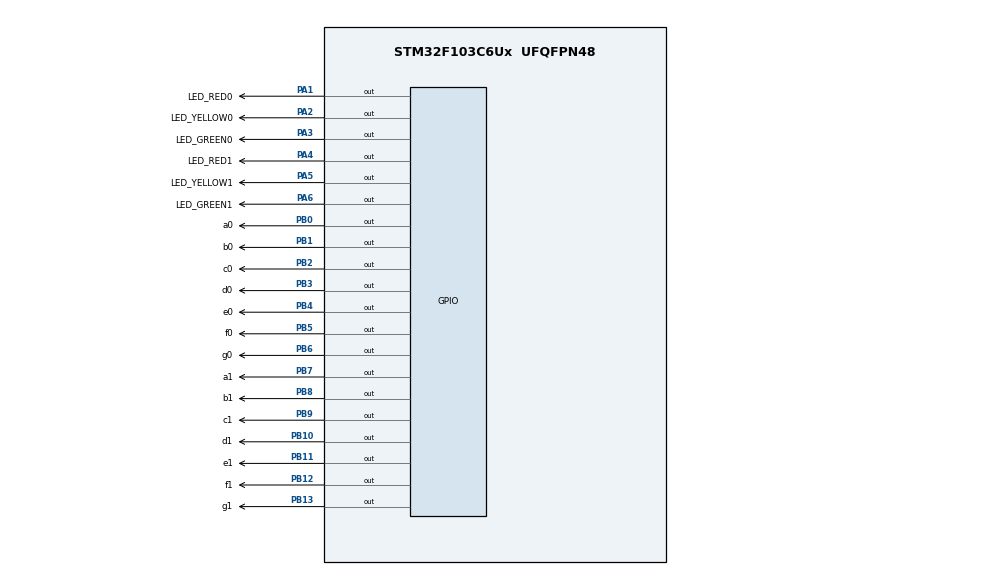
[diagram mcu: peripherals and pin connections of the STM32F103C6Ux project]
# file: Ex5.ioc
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Mcu.Family=STM32F1
Mcu.Name=STM32F103C6Ux
Mcu.Package=UFQFPN48
NVIC.PriorityGroup=NVIC_PRIORITYGROUP_4
PA1.GPIO_Label=LED_RED0
PA1.Signal=GPIO_Output
PA2.GPIO_Label=LED_YELLOW0
PA2.Signal=GPIO_Output
PA3.GPIO_Label=LED_GREEN0
PA3.Signal=GPIO_Output
PA4.GPIO_Label=LED_RED1
PA4.Signal=GPIO_Output
PA5.GPIO_Label=LED_YELLOW1
PA5.Signal=GPIO_Output
PA6.GPIO_Label=LED_GREEN1
PA6.Signal=GPIO_Output
PB0.GPIO_Label=a0
PB0.Signal=GPIO_Output
PB1.GPIO_Label=b0
PB1.Signal=GPIO_Output
PB10.GPIO_Label=d1
PB10.Signal=GPIO_Output
PB11.GPIO_Label=e1
PB11.Signal=GPIO_Output
PB12.GPIO_Label=f1
PB12.Signal=GPIO_Output
PB13.GPIO_Label=g1
PB13.Signal=GPIO_Output
PB2.GPIO_Label=c0
PB2.Signal=GPIO_Output
PB3.GPIO_Label=d0
PB3.Signal=GPIO_Output
PB4.GPIO_Label=e0
PB4.Signal=GPIO_Output
PB5.GPIO_Label=f0
PB5.Signal=GPIO_Output
PB6.GPIO_Label=g0
PB6.Signal=GPIO_Output
PB7.GPIO_Label=a1
PB7.Signal=GPIO_Output
PB8.GPIO_Label=b1
PB8.Signal=GPIO_Output
PB9.GPIO_Label=c1
PB9.Signal=GPIO_Output
ProjectManager.HeapSize=0x200
ProjectManager.StackSize=0x400
ProjectManager.TargetToolchain=STM32CubeIDE
RCC.APB1Freq_Value=8000000
RCC.APB2Freq_Value=8000000
VP_SYS_VS_ND.Mode=No_Debug
board=custom

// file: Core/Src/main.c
/* USER CODE BEGIN Header */
/**
  ******************************************************************************
  * @file           : main.c
  * @brief          : Main program body
  ******************************************************************************
  * @attention
  *
  * <h2><center>&copy; Copyright (c) 2026 STMicroelectronics.
  * All rights reserved.</center></h2>
  *
  * This software component is licensed by ST under BSD 3-Clause license,
  * the "License"; You may not use this file except in compliance with the
  * License. You may obtain a copy of the License at:
  *                        opensource.org/licenses/BSD-3-Clause
  *
  ******************************************************************************
  */
/* USER CODE END Header */
#include "main.h"

void SystemClock_Config(void);
static void MX_GPIO_Init(void);

int main(void)
{

  /* MCU Configuration--------------------------------------------------------*/

  /* Reset of all peripherals, Initializes the Flash interface and the Systick. */
  HAL_Init();

  /* Configure the system clock */
  SystemClock_Config();

  /* Initialize all configured peripherals */
  MX_GPIO_Init();

  /* Infinite loop */
  /* USER CODE BEGIN WHILE */
  //PB0 -> PB6
  void display7SEG_0(int num)
  {
      uint8_t seg7[10][7] = {
          // a  b  c  d  e  f  g
          {0, 0, 0, 0, 0, 0, 1}, // 0
          {1, 0, 0, 1, 1, 1, 1}, // 1
          {0, 0, 1, 0, 0, 1, 0}, // 2
          {0, 0, 0, 0, 1, 1, 0}, // 3
          {1, 0, 0, 1, 1, 0, 0}, // 4
          {0, 1, 0, 0, 1, 0, 0}, // 5
          {0, 1, 0, 0, 0, 0, 0}, // 6
          {0, 0, 0, 1, 1, 1, 1}, // 7
          {0, 0, 0, 0, 0, 0, 0}, // 8
          {0, 0, 0, 0, 1, 0, 0}  // 9
      };

      HAL_GPIO_WritePin(GPIOB, GPIO_PIN_0, seg7[num][0]); // a
      HAL_GPIO_WritePin(GPIOB, GPIO_PIN_1, seg7[num][1]); // b
      HAL_GPIO_WritePin(GPIOB, GPIO_PIN_2, seg7[num][2]); // c
      HAL_GPIO_WritePin(GPIOB, GPIO_PIN_3, seg7[num][3]); // d
      HAL_GPIO_WritePin(GPIOB, GPIO_PIN_4, seg7[num][4]); // e
      HAL_GPIO_WritePin(GPIOB, GPIO_PIN_5, seg7[num][5]); // f
      HAL_GPIO_WritePin(GPIOB, GPIO_PIN_6, seg7[num][6]); // g
  }

  //PB7 -> PB13
  void display7SEG_1(int num)
  {
      uint8_t seg7[10][7] = {
          // a  b  c  d  e  f  g
          {0, 0, 0, 0, 0, 0, 1}, // 0
          {1, 0, 0, 1, 1, 1, 1}, // 1
          {0, 0, 1, 0, 0, 1, 0}, // 2
          {0, 0, 0, 0, 1, 1, 0}, // 3
          {1, 0, 0, 1, 1, 0, 0}, // 4
          {0, 1, 0, 0, 1, 0, 0}, // 5
          {0, 1, 0, 0, 0, 0, 0}, // 6
          {0, 0, 0, 1, 1, 1, 1}, // 7
          {0, 0, 0, 0, 0, 0, 0}, // 8
          {0, 0, 0, 0, 1, 0, 0}  // 9
      };

      HAL_GPIO_WritePin(GPIOB, GPIO_PIN_7,  seg7[num][0]); // a
      HAL_GPIO_WritePin(GPIOB, GPIO_PIN_8,  seg7[num][1]); // b
      HAL_GPIO_WritePin(GPIOB, GPIO_PIN_9,  seg7[num][2]); // c
      HAL_GPIO_WritePin(GPIOB, GPIO_PIN_10, seg7[num][3]); // d
      HAL_GPIO_WritePin(GPIOB, GPIO_PIN_11, seg7[num][4]); // e
      HAL_GPIO_WritePin(GPIOB, GPIO_PIN_12, seg7[num][5]); // f
      HAL_GPIO_WritePin(GPIOB, GPIO_PIN_13, seg7[num][6]); // g
  }

  HAL_GPIO_WritePin(GPIOA, LED_RED0_Pin|LED_YELLOW0_Pin|LED_GREEN0_Pin|LED_RED1_Pin|LED_YELLOW1_Pin|LED_GREEN1_Pin, GPIO_PIN_SET);
  int time0 = 0;
  int time1 = 0;
  while (1)
  {
    /* USER CODE END WHILE */
	  //RED0 - GREEN1
	  HAL_GPIO_WritePin(GPIOA,LED_RED0_Pin,GPIO_PIN_RESET);
	  HAL_GPIO_WritePin(GPIOA,LED_GREEN1_Pin,GPIO_PIN_RESET);

	  time0 = 5;
	  time1 = 3;
	  while (time1 > 0)
	  {
		  display7SEG_0(time0);
		  display7SEG_1(time1);
		  HAL_Delay(1000);
		  time0--;
		  time1--;
	  }

	  //RED0 - YELLOW1
	  HAL_GPIO_WritePin(GPIOA,LED_GREEN1_Pin,GPIO_PIN_SET);
	  HAL_GPIO_WritePin(GPIOA,LED_YELLOW1_Pin,GPIO_PIN_RESET);

	  time1 = 2;
	  while (time1 > 0)
	  {
		  display7SEG_0(time0);
		  display7SEG_1(time1);
		  HAL_Delay(1000);
		  time0--;
		  time1--;
	  }

	  //RED1 - GREEN0
	  HAL_GPIO_WritePin(GPIOA,LED_RED0_Pin,GPIO_PIN_SET);
	  HAL_GPIO_WritePin(GPIOA,LED_YELLOW1_Pin,GPIO_PIN_SET);
	  HAL_GPIO_WritePin(GPIOA,LED_GREEN0_Pin,GPIO_PIN_RESET);
	  HAL_GPIO_WritePin(GPIOA,LED_RED1_Pin,GPIO_PIN_RESET);

	  time0 = 3;
	  time1 = 5;
	  while (time0 > 0)
	  {
		  display7SEG_0(time0);
		  display7SEG_1(time1);
		  HAL_Delay(1000);
		  time0--;
		  time1--;
	  }

	  //RED1 - YELLOW0
	  HAL_GPIO_WritePin(GPIOA,LED_GREEN0_Pin,GPIO_PIN_SET);
	  HAL_GPIO_WritePin(GPIOA,LED_YELLOW0_Pin,GPIO_PIN_RESET);

	  time0 = 2;
	  while (time0 > 0)
	  {
		  display7SEG_0(time0);
		  display7SEG_1(time1);
		  HAL_Delay(1000);
		  time0--;
		  time1--;
	  }
	  HAL_GPIO_WritePin(GPIOA,LED_RED1_Pin,GPIO_PIN_SET);
	  HAL_GPIO_WritePin(GPIOA,LED_YELLOW0_Pin,GPIO_PIN_SET);

  }
}

void SystemClock_Config(void)
{
  RCC_OscInitTypeDef RCC_OscInitStruct = {0};
  RCC_ClkInitTypeDef RCC_ClkInitStruct = {0};

  /** Initializes the RCC Oscillators according to the specified parameters
  * in the RCC_OscInitTypeDef structure.
  */
  RCC_OscInitStruct.OscillatorType = RCC_OSCILLATORTYPE_HSI;
  RCC_OscInitStruct.HSIState = RCC_HSI_ON;
  RCC_OscInitStruct.HSICalibrationValue = RCC_HSICALIBRATION_DEFAULT;
  RCC_OscInitStruct.PLL.PLLState = RCC_PLL_NONE;
  if (HAL_RCC_OscConfig(&RCC_OscInitStruct) != HAL_OK)
  {
    Error_Handler();
  }
  /** Initializes the CPU, AHB and APB buses clocks
  */
  RCC_ClkInitStruct.ClockType = RCC_CLOCKTYPE_HCLK|RCC_CLOCKTYPE_SYSCLK
                              |RCC_CLOCKTYPE_PCLK1|RCC_CLOCKTYPE_PCLK2;
  RCC_ClkInitStruct.SYSCLKSource = RCC_SYSCLKSOURCE_HSI;
  RCC_ClkInitStruct.AHBCLKDivider = RCC_SYSCLK_DIV1;
  RCC_ClkInitStruct.APB1CLKDivider = RCC_HCLK_DIV1;
  RCC_ClkInitStruct.APB2CLKDivider = RCC_HCLK_DIV1;

  if (HAL_RCC_ClockConfig(&RCC_ClkInitStruct, FLASH_LATENCY_0) != HAL_OK)
  {
    Error_Handler();
  }
}

static void MX_GPIO_Init(void)
{
  GPIO_InitTypeDef GPIO_InitStruct = {0};

  /* GPIO Ports Clock Enable */
  __HAL_RCC_GPIOA_CLK_ENABLE();
  __HAL_RCC_GPIOB_CLK_ENABLE();

  /*Configure GPIO pin Output Level */
  HAL_GPIO_WritePin(GPIOA, LED_RED0_Pin|LED_YELLOW0_Pin|LED_GREEN0_Pin|LED_RED1_Pin
                          |LED_YELLOW1_Pin|LED_GREEN1_Pin, GPIO_PIN_RESET);

  /*Configure GPIO pin Output Level */
  HAL_GPIO_WritePin(GPIOB, a0_Pin|b0_Pin|c0_Pin|d1_Pin
                          |e1_Pin|f1_Pin|g1_Pin|d0_Pin
                          |e0_Pin|f0_Pin|g0_Pin|a1_Pin
                          |b1_Pin|c1_Pin, GPIO_PIN_RESET);

  /*Configure GPIO pins : LED_RED0_Pin LED_YELLOW0_Pin LED_GREEN0_Pin LED_RED1_Pin
                           LED_YELLOW1_Pin LED_GREEN1_Pin */
  GPIO_InitStruct.Pin = LED_RED0_Pin|LED_YELLOW0_Pin|LED_GREEN0_Pin|LED_RED1_Pin
                          |LED_YELLOW1_Pin|LED_GREEN1_Pin;
  GPIO_InitStruct.Mode = GPIO_MODE_OUTPUT_PP;
  GPIO_InitStruct.Pull = GPIO_NOPULL;
  GPIO_InitStruct.Speed = GPIO_SPEED_FREQ_LOW;
  HAL_GPIO_Init(GPIOA, &GPIO_InitStruct);

  /*Configure GPIO pins : a0_Pin b0_Pin c0_Pin d1_Pin
                           e1_Pin f1_Pin g1_Pin d0_Pin
                           e0_Pin f0_Pin g0_Pin a1_Pin
                           b1_Pin c1_Pin */
  GPIO_InitStruct.Pin = a0_Pin|b0_Pin|c0_Pin|d1_Pin
                          |e1_Pin|f1_Pin|g1_Pin|d0_Pin
                          |e0_Pin|f0_Pin|g0_Pin|a1_Pin
                          |b1_Pin|c1_Pin;
  GPIO_InitStruct.Mode = GPIO_MODE_OUTPUT_PP;
  GPIO_InitStruct.Pull = GPIO_NOPULL;
  GPIO_InitStruct.Speed = GPIO_SPEED_FREQ_LOW;
  HAL_GPIO_Init(GPIOB, &GPIO_InitStruct);

}

void Error_Handler(void)
{
  __disable_irq();
  while (1)
  {
  }
}

/************************ (C) COPYRIGHT STMicroelectronics *****END OF FILE****/
